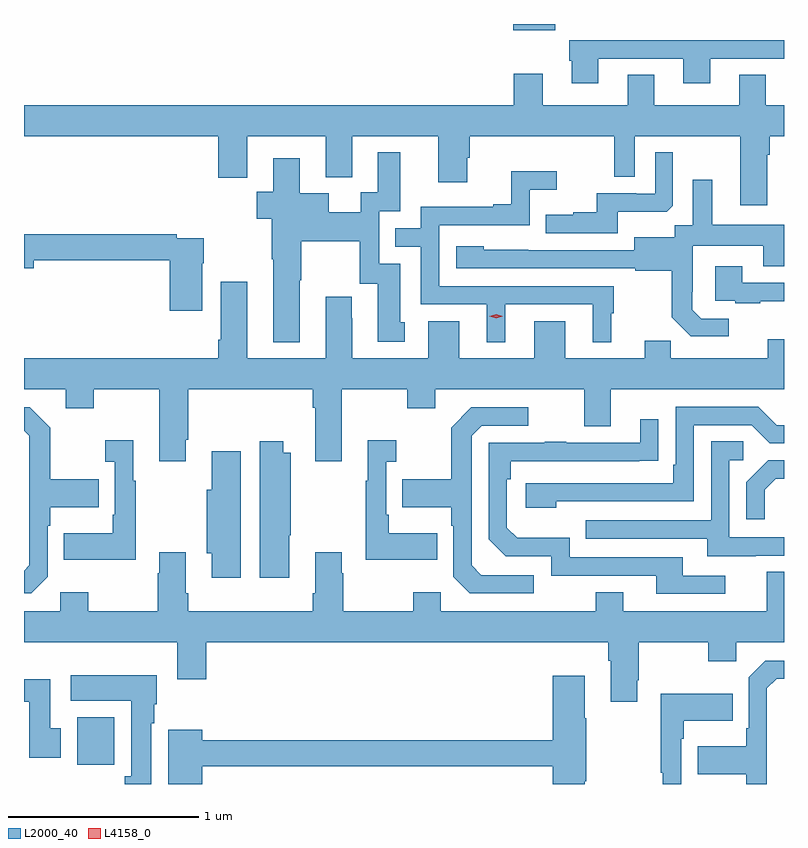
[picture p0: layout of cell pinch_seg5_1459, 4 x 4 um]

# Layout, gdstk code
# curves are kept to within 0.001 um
import gdstk
lib = gdstk.Library(unit=1e-6, precision=1e-09)
def R(c, l, rs):  # rectangles x0, y0, x1, y1
    for r in rs: c.add(gdstk.rectangle(r[:2], r[2:], *l))
def P(c, l, *ps):  # polygons
    for p in ps: c.add(gdstk.Polygon(p, *l))
L2000_40 = (2000, 40)
L4158_0 = (4158, 0)

pinch_seg5_1459 = lib.new_cell('pinch_seg5_1459')
R(pinch_seg5_1459, L2000_40, [(190.373,834.804,190.569,835.054), (192.668,838.67,192.889,838.703)])
P(pinch_seg5_1459, L2000_40, [(193.117,838.521),(193.565,838.521),(193.565,838.392),(193.705,838.392),(193.705,838.521),(194.094,838.521),(194.094,838.617),(192.965,838.617),(192.965,838.509),(192.977,838.509),(192.977,838.392),(193.117,838.392)],
  [(192.823,838.441),(192.671,838.441),(192.671,838.276),(190.094,838.276),(190.094,838.112),(191.117,838.112),(191.117,837.894),(191.269,837.894),(191.269,838.112),(191.681,838.112),(191.681,837.896),(191.821,837.896),(191.821,838.112),(192.275,838.112),(192.275,837.87),(192.427,837.87),(192.427,837.999),(192.44,837.999),(192.44,838.112),(193.2,838.112),(193.2,837.898),(193.308,837.898),(193.308,838.112),(193.865,838.112),(193.865,837.75),(194.005,837.75),(194.005,838.016),(194.018,838.016),(194.018,838.112),(194.094,838.112),(194.094,838.276),(193.999,838.276),(193.999,838.436),(193.859,838.436),(193.859,838.276),(193.411,838.276),(193.411,838.436),(193.271,838.436),(193.271,838.276),(192.823,838.276)],
  [(193.219,837.716),(193.477,837.716),(193.509,837.747),(193.509,838.027),(193.416,838.027),(193.416,837.81),(193.316,837.81),(193.316,837.813),(193.109,837.813),(193.109,837.712),(192.985,837.712),(192.985,837.7),(192.841,837.7),(192.841,837.603),(193.219,837.603)],
  [(191.545,837.355),(191.553,837.355),(191.553,837.56),(191.861,837.56),(191.861,837.336),(191.957,837.336),(191.957,837.03),(192.097,837.03),(192.097,837.132),(192.073,837.132),(192.073,837.441),(191.964,837.441),(191.964,837.717),(192.073,837.717),(192.073,838.027),(191.957,838.027),(191.957,837.818),(191.867,837.818),(191.867,837.712),(191.698,837.712),(191.698,837.811),(191.545,837.811),(191.545,837.997),(191.405,837.997),(191.405,837.819),(191.318,837.819),(191.318,837.677),(191.398,837.677),(191.398,837.464),(191.405,837.464),(191.405,837.029),(191.545,837.029)],
  [(192.628,837.228),(193.088,837.228),(193.088,837.029),(193.186,837.029),(193.186,837.18),(193.198,837.18),(193.198,837.324),(192.279,837.324),(192.279,837.645),(192.756,837.645),(192.756,837.83),(192.898,837.83),(192.898,837.929),(192.658,837.929),(192.658,837.754),(192.563,837.754),(192.563,837.741),(192.183,837.741),(192.183,837.627),(192.049,837.627),(192.049,837.531),(192.183,837.531),(192.183,837.228),(192.53,837.228),(192.53,837.029),(192.628,837.029)],
  [(193.804,837.153),(193.659,837.153),(193.612,837.2),(193.612,837.295),(193.614,837.295),(193.614,837.536),(193.985,837.536),(193.985,837.427),(194.094,837.427),(194.094,837.646),(193.717,837.646),(193.717,837.883),(193.613,837.883),(193.613,837.644),(193.518,837.644),(193.518,837.58),(193.307,837.58),(193.307,837.513),(192.513,837.514),(192.513,837.532),(192.369,837.532),(192.369,837.417),(193.311,837.417),(193.311,837.405),(193.503,837.405),(193.503,837.159),(193.603,837.059),(193.804,837.059)],
  [(191.032,837.443),(191.04,837.443),(191.04,837.576),(190.898,837.576),(190.898,837.596),(190.094,837.596),(190.094,837.418),(190.144,837.418),(190.144,837.46),(190.862,837.46),(190.862,837.195),(191.032,837.195)],
  [(193.969,837.245),(194.094,837.245),(194.094,837.342),(193.873,837.342),(193.873,837.427),(193.733,837.427),(193.733,837.246),(193.837,837.246),(193.837,837.234),(193.969,837.234)],
  [(194.094,837.043),(194.009,837.043),(194.009,836.944),(193.499,836.944),(193.499,837.035),(193.361,837.035),(193.361,836.944),(192.943,836.944),(192.943,837.139),(192.779,837.139),(192.779,836.944),(192.385,836.944),(192.385,837.139),(192.221,837.139),(192.221,836.944),(191.821,836.944),(191.821,837.155),(191.818,837.155),(191.818,837.268),(191.681,837.268),(191.681,836.944),(191.269,836.944),(191.269,837.346),(191.129,837.346),(191.129,837.04),(191.117,837.04),(191.117,836.944),(190.094,836.944),(190.094,836.78),(190.313,836.78),(190.313,836.681),(190.461,836.681),(190.461,836.78),(190.805,836.78),(190.805,836.403),(190.945,836.403),(190.945,836.515),(190.958,836.515),(190.958,836.78),(191.615,836.78),(191.615,836.684),(191.627,836.684),(191.627,836.403),(191.767,836.403),(191.767,836.78),(192.112,836.78),(192.112,836.681),(192.259,836.681),(192.259,836.78),(193.043,836.78),(193.043,836.586),(193.183,836.586),(193.183,836.78),(194.094,836.78)],
  [(192.896,836.19),(193.62,836.19),(193.62,836.592),(193.923,836.592),(194.019,836.496),(194.094,836.496),(194.094,836.592),(194.055,836.592),(193.959,836.688),(193.524,836.688),(193.524,836.383),(193.511,836.383),(193.511,836.286),(192.735,836.286),(192.735,836.156),(192.896,836.156)],
  [(190.218,835.794),(190.218,836.063),(190.231,836.063),(190.231,836.159),(190.487,836.159),(190.487,836.307),(190.231,836.307),(190.231,836.579),(190.125,836.685),(190.094,836.685),(190.094,836.563),(190.122,836.535),(190.122,835.854),(190.094,835.826),(190.094,835.707),(190.131,835.707)],
  [(192.778,835.803),(192.501,835.803),(192.45,835.854),(192.45,836.535),(192.504,836.589),(192.748,836.589),(192.748,836.685),(192.447,836.685),(192.342,836.579),(192.342,836.307),(192.085,836.307),(192.085,836.159),(192.342,836.159),(192.342,836.063),(192.354,836.063),(192.354,835.794),(192.441,835.707),(192.778,835.707)],
  [(193.786,835.8),(193.561,835.8),(193.561,835.896),(192.966,835.896),(192.966,835.999),(192.689,835.999),(192.636,836.052),(192.636,836.306),(192.656,836.306),(192.656,836.403),(193.433,836.404),(193.433,836.623),(193.337,836.623),(193.337,836.499),(192.947,836.499),(192.947,836.504),(192.835,836.504),(192.835,836.499),(192.54,836.499),(192.54,835.992),(192.63,835.902),(192.87,835.902),(192.87,835.8),(193.421,835.8),(193.421,835.704),(193.786,835.704)],
  [(192.269,836.023),(192.013,836.023),(192.013,836.119),(192,836.119),(192,836.399),(192.052,836.399),(192.052,836.512),(191.903,836.512),(191.903,836.299),(191.892,836.299),(191.892,835.883),(192.269,835.883)],
  [(190.681,836.299),(190.669,836.299),(190.669,836.512),(190.521,836.512),(190.521,836.399),(190.572,836.399),(190.572,836.119),(190.56,836.119),(190.56,836.023),(190.303,836.023),(190.303,835.883),(190.681,835.883)],
  [(193.945,835.905),(194.094,835.905),(194.094,836.001),(193.806,836.001),(193.806,836.406),(193.879,836.406),(193.879,836.507),(193.71,836.507),(193.71,836.091),(193.051,836.091),(193.051,835.995),(193.691,835.995),(193.691,835.901),(193.945,835.901)],
  [(191.491,836.011),(191.499,836.011),(191.499,836.446),(191.458,836.446),(191.458,836.506),(191.336,836.506),(191.336,835.788),(191.491,835.788)],
  [(191.236,836.455),(191.081,836.455),(191.081,836.253),(191.057,836.253),(191.057,835.917),(191.081,835.917),(191.081,835.788),(191.236,835.788)],
  [(193.993,836.253),(194.05,836.31),(194.094,836.31),(194.094,836.406),(194.012,836.406),(193.896,836.29),(193.896,836.097),(193.993,836.097)],
  [(193.321,835.249),(193.329,835.249),(193.329,835.448),(193.696,835.448),(193.696,835.349),(193.842,835.349),(193.842,835.448),(194.094,835.448),(194.094,835.82),(194.003,835.82),(194.003,835.612),(193.249,835.612),(193.249,835.711),(193.102,835.711),(193.102,835.612),(192.288,835.612),(192.288,835.711),(192.142,835.711),(192.142,835.612),(191.775,835.612),(191.775,835.811),(191.767,835.811),(191.767,835.924),(191.627,835.924),(191.627,835.708),(191.615,835.708),(191.615,835.612),(190.958,835.612),(190.958,835.708),(190.945,835.708),(190.945,835.924),(190.805,835.924),(190.805,835.811),(190.798,835.811),(190.798,835.612),(190.431,835.612),(190.431,835.711),(190.284,835.711),(190.284,835.612),(190.094,835.612),(190.094,835.448),(190.901,835.448),(190.901,835.254),(191.054,835.254),(191.054,835.448),(193.169,835.448),(193.169,835.352),(193.181,835.352),(193.181,835.137),(193.321,835.137)],
  [(194.004,835.206),(194.055,835.257),(194.094,835.257),(194.094,835.353),(193.995,835.353),(193.908,835.266),(193.908,834.997),(193.896,834.997),(193.896,834.901),(193.639,834.901),(193.639,834.754),(193.896,834.754),(193.896,834.703),(194.004,834.703)],
  [(190.765,835.022),(190.78,835.022),(190.78,835.122),(190.792,835.122),(190.792,835.276),(190.341,835.276),(190.341,835.142),(190.658,835.142),(190.658,834.745),(190.625,834.745),(190.625,834.703),(190.765,834.703)],
  [(191.032,834.796),(192.878,834.796),(192.878,834.703),(193.045,834.703),(193.045,834.718),(193.053,834.718),(193.053,835.049),(193.045,835.049),(193.045,835.273),(192.878,835.273),(192.878,834.932),(191.032,834.932),(191.032,834.988),(190.853,834.988),(190.853,834.703),(191.032,834.703)],
  [(190.288,834.996),(190.231,834.996),(190.231,835.255),(190.094,835.255),(190.094,835.136),(190.121,835.136),(190.121,834.84),(190.288,834.84)],
  [(193.554,834.941),(193.567,834.941),(193.567,835.037),(193.823,835.037),(193.823,835.177),(193.446,835.177),(193.446,834.761),(193.457,834.761),(193.457,834.703),(193.554,834.703)])
P(pinch_seg5_1459, L4158_0, [(192.579,837.155),(192.543,837.164),(192.543,837.164),(192.543,837.164),(192.579,837.175),(192.615,837.166),(192.615,837.166),(192.615,837.166)])

lib.write_gds('pinch_seg5_1459.gds')
